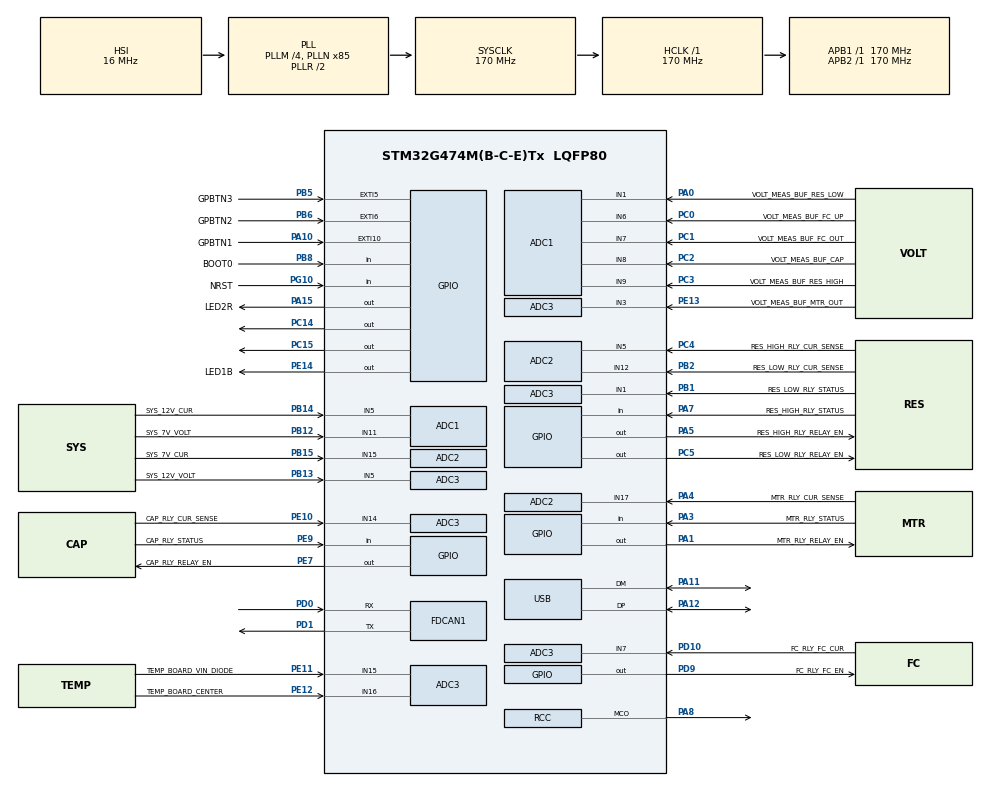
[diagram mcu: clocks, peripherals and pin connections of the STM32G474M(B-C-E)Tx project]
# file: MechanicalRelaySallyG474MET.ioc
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ADC1.Channel-0\#ChannelRegularConversion=ADC_CHANNEL_1
ADC1.Channel-1\#ChannelRegularConversion=ADC_CHANNEL_5
ADC1.Channel-2\#ChannelRegularConversion=ADC_CHANNEL_6
ADC1.Channel-3\#ChannelRegularConversion=ADC_CHANNEL_7
ADC1.Channel-4\#ChannelRegularConversion=ADC_CHANNEL_8
ADC1.Channel-5\#ChannelRegularConversion=ADC_CHANNEL_9
ADC1.Channel-6\#ChannelRegularConversion=ADC_CHANNEL_11
ADC1.Channel-7\#ChannelRegularConversion=ADC_CHANNEL_TEMPSENSOR_ADC1
ADC1.Channel-8\#ChannelRegularConversion=ADC_CHANNEL_VBAT
ADC1.Channel-9\#ChannelRegularConversion=ADC_CHANNEL_VREFINT
ADC1.ContinuousConvMode=ENABLE
ADC1.DMAContinuousRequests=ENABLE
ADC1.EOCSelection=ADC_EOC_SEQ_CONV
ADC1.NbrOfConversion=10
ADC1.NbrOfConversionFlag=1
ADC1.OffsetNumber-0\#ChannelRegularConversion=ADC_OFFSET_NONE
ADC1.OffsetNumber-1\#ChannelRegularConversion=ADC_OFFSET_NONE
ADC1.OffsetNumber-2\#ChannelRegularConversion=ADC_OFFSET_NONE
ADC1.OffsetNumber-3\#ChannelRegularConversion=ADC_OFFSET_NONE
ADC1.OffsetNumber-4\#ChannelRegularConversion=ADC_OFFSET_NONE
ADC1.OffsetNumber-5\#ChannelRegularConversion=ADC_OFFSET_NONE
ADC1.OffsetNumber-6\#ChannelRegularConversion=ADC_OFFSET_NONE
ADC1.OffsetNumber-7\#ChannelRegularConversion=ADC_OFFSET_NONE
ADC1.OffsetNumber-8\#ChannelRegularConversion=ADC_OFFSET_NONE
ADC1.OffsetNumber-9\#ChannelRegularConversion=ADC_OFFSET_NONE
ADC1.Overrun=ADC_OVR_DATA_OVERWRITTEN
ADC1.Rank-0\#ChannelRegularConversion=1
ADC1.Rank-1\#ChannelRegularConversion=2
ADC1.Rank-2\#ChannelRegularConversion=3
ADC1.Rank-3\#ChannelRegularConversion=4
ADC1.Rank-4\#ChannelRegularConversion=5
ADC1.Rank-5\#ChannelRegularConversion=6
ADC1.Rank-6\#ChannelRegularConversion=7
ADC1.Rank-7\#ChannelRegularConversion=8
ADC1.Rank-8\#ChannelRegularConversion=9
ADC1.Rank-9\#ChannelRegularConversion=10
ADC1.SamplingTime-0\#ChannelRegularConversion=ADC_SAMPLETIME_2CYCLES_5
ADC1.SamplingTime-1\#ChannelRegularConversion=ADC_SAMPLETIME_2CYCLES_5
ADC1.SamplingTime-2\#ChannelRegularConversion=ADC_SAMPLETIME_2CYCLES_5
ADC1.SamplingTime-3\#ChannelRegularConversion=ADC_SAMPLETIME_2CYCLES_5
ADC1.SamplingTime-4\#ChannelRegularConversion=ADC_SAMPLETIME_2CYCLES_5
ADC1.SamplingTime-5\#ChannelRegularConversion=ADC_SAMPLETIME_2CYCLES_5
ADC1.SamplingTime-6\#ChannelRegularConversion=ADC_SAMPLETIME_2CYCLES_5
ADC1.SamplingTime-7\#ChannelRegularConversion=ADC_SAMPLETIME_2CYCLES_5
ADC1.SamplingTime-8\#ChannelRegularConversion=ADC_SAMPLETIME_2CYCLES_5
ADC1.SamplingTime-9\#ChannelRegularConversion=ADC_SAMPLETIME_2CYCLES_5
ADC1.master=1
ADC2.Channel-0\#ChannelRegularConversion=ADC_CHANNEL_5
ADC2.Channel-1\#ChannelRegularConversion=ADC_CHANNEL_12
ADC2.Channel-2\#ChannelRegularConversion=ADC_CHANNEL_15
ADC2.Channel-3\#ChannelRegularConversion=ADC_CHANNEL_17
ADC2.ContinuousConvMode=ENABLE
ADC2.DMAContinuousRequests=ENABLE
ADC2.EOCSelection=ADC_EOC_SEQ_CONV
ADC2.NbrOfConversion=4
ADC2.NbrOfConversionFlag=1
ADC2.OffsetNumber-0\#ChannelRegularConversion=ADC_OFFSET_NONE
ADC2.OffsetNumber-1\#ChannelRegularConversion=ADC_OFFSET_NONE
ADC2.OffsetNumber-2\#ChannelRegularConversion=ADC_OFFSET_NONE
ADC2.OffsetNumber-3\#ChannelRegularConversion=ADC_OFFSET_NONE
ADC2.Overrun=ADC_OVR_DATA_OVERWRITTEN
ADC2.Rank-0\#ChannelRegularConversion=1
ADC2.Rank-1\#ChannelRegularConversion=2
ADC2.Rank-2\#ChannelRegularConversion=3
ADC2.Rank-3\#ChannelRegularConversion=4
ADC2.SamplingTime-0\#ChannelRegularConversion=ADC_SAMPLETIME_2CYCLES_5
ADC2.SamplingTime-1\#ChannelRegularConversion=ADC_SAMPLETIME_2CYCLES_5
ADC2.SamplingTime-2\#ChannelRegularConversion=ADC_SAMPLETIME_2CYCLES_5
ADC2.SamplingTime-3\#ChannelRegularConversion=ADC_SAMPLETIME_2CYCLES_5
ADC3.Channel-0\#ChannelRegularConversion=ADC_CHANNEL_3
ADC3.Channel-1\#ChannelRegularConversion=ADC_CHANNEL_5
ADC3.Channel-2\#ChannelRegularConversion=ADC_CHANNEL_7
ADC3.Channel-3\#ChannelRegularConversion=ADC_CHANNEL_14
ADC3.ContinuousConvMode=ENABLE
ADC3.DMAContinuousRequests=ENABLE
ADC3.EOCSelection=ADC_EOC_SEQ_CONV
ADC3.NbrOfConversion=4
ADC3.NbrOfConversionFlag=1
ADC3.OffsetNumber-0\#ChannelRegularConversion=ADC_OFFSET_NONE
ADC3.OffsetNumber-1\#ChannelRegularConversion=ADC_OFFSET_NONE
ADC3.OffsetNumber-2\#ChannelRegularConversion=ADC_OFFSET_NONE
ADC3.OffsetNumber-3\#ChannelRegularConversion=ADC_OFFSET_NONE
ADC3.Overrun=ADC_OVR_DATA_OVERWRITTEN
ADC3.Rank-0\#ChannelRegularConversion=1
ADC3.Rank-1\#ChannelRegularConversion=2
ADC3.Rank-2\#ChannelRegularConversion=3
ADC3.Rank-3\#ChannelRegularConversion=4
ADC3.SamplingTime-0\#ChannelRegularConversion=ADC_SAMPLETIME_2CYCLES_5
ADC3.SamplingTime-1\#ChannelRegularConversion=ADC_SAMPLETIME_2CYCLES_5
ADC3.SamplingTime-2\#ChannelRegularConversion=ADC_SAMPLETIME_2CYCLES_5
ADC3.SamplingTime-3\#ChannelRegularConversion=ADC_SAMPLETIME_2CYCLES_5
ADC3.master=1
Dma.ADC1.0.Direction=DMA_PERIPH_TO_MEMORY
Dma.ADC1.0.EventEnable=DISABLE
Dma.ADC1.0.Instance=DMA1_Channel1
Dma.ADC1.0.MemDataAlignment=DMA_MDATAALIGN_HALFWORD
Dma.ADC1.0.MemInc=DMA_MINC_ENABLE
Dma.ADC1.0.Mode=DMA_CIRCULAR
Dma.ADC1.0.PeriphDataAlignment=DMA_PDATAALIGN_HALFWORD
Dma.ADC1.0.PeriphInc=DMA_PINC_DISABLE
Dma.ADC1.0.Polarity=HAL_DMAMUX_REQ_GEN_RISING
Dma.ADC1.0.Priority=DMA_PRIORITY_LOW
Dma.ADC1.0.RequestNumber=1
Dma.ADC1.0.SignalID=NONE
Dma.ADC1.0.SyncEnable=DISABLE
Dma.ADC1.0.SyncPolarity=HAL_DMAMUX_SYNC_NO_EVENT
Dma.ADC1.0.SyncRequestNumber=1
Dma.ADC1.0.SyncSignalID=NONE
Dma.ADC2.1.Direction=DMA_PERIPH_TO_MEMORY
Dma.ADC2.1.EventEnable=DISABLE
Dma.ADC2.1.Instance=DMA1_Channel2
Dma.ADC2.1.MemDataAlignment=DMA_MDATAALIGN_HALFWORD
Dma.ADC2.1.MemInc=DMA_MINC_ENABLE
Dma.ADC2.1.Mode=DMA_CIRCULAR
Dma.ADC2.1.PeriphDataAlignment=DMA_PDATAALIGN_HALFWORD
Dma.ADC2.1.PeriphInc=DMA_PINC_DISABLE
Dma.ADC2.1.Polarity=HAL_DMAMUX_REQ_GEN_RISING
Dma.ADC2.1.Priority=DMA_PRIORITY_LOW
Dma.ADC2.1.RequestNumber=1
Dma.ADC2.1.SignalID=NONE
Dma.ADC2.1.SyncEnable=DISABLE
Dma.ADC2.1.SyncPolarity=HAL_DMAMUX_SYNC_NO_EVENT
Dma.ADC2.1.SyncRequestNumber=1
Dma.ADC2.1.SyncSignalID=NONE
Dma.ADC3.2.Direction=DMA_PERIPH_TO_MEMORY
Dma.ADC3.2.EventEnable=DISABLE
Dma.ADC3.2.Instance=DMA1_Channel3
Dma.ADC3.2.MemDataAlignment=DMA_MDATAALIGN_HALFWORD
Dma.ADC3.2.MemInc=DMA_MINC_ENABLE
Dma.ADC3.2.Mode=DMA_CIRCULAR
Dma.ADC3.2.PeriphDataAlignment=DMA_PDATAALIGN_HALFWORD
Dma.ADC3.2.PeriphInc=DMA_PINC_DISABLE
Dma.ADC3.2.Polarity=HAL_DMAMUX_REQ_GEN_RISING
Dma.ADC3.2.Priority=DMA_PRIORITY_LOW
Dma.ADC3.2.RequestNumber=1
Dma.ADC3.2.SignalID=NONE
Dma.ADC3.2.SyncEnable=DISABLE
Dma.ADC3.2.SyncPolarity=HAL_DMAMUX_SYNC_NO_EVENT
Dma.ADC3.2.SyncRequestNumber=1
Dma.ADC3.2.SyncSignalID=NONE
Dma.Request0=ADC1
Dma.Request1=ADC2
Dma.Request2=ADC3
FDCAN1.CalculateBaudRateNominal=3541666
FDCAN1.CalculateTimeBitNominal=282
FDCAN1.CalculateTimeQuantumNominal=94.11764705882354
FREERTOS.Tasks01=defaultTask,24,128,StartDefaultTask,Default,NULL,Dynamic,NULL,NULL
Mcu.Family=STM32G4
Mcu.Name=STM32G474M(B-C-E)Tx
Mcu.Package=LQFP80
NVIC.ADC1_2_IRQn=true\:5\:0\:false\:false\:true\:true\:true\:true\:true
NVIC.ADC3_IRQn=true\:5\:0\:false\:false\:true\:true\:true\:true\:true
NVIC.DMA1_Channel1_IRQn=true\:5\:0\:false\:false\:true\:true\:false\:true\:true
NVIC.DMA1_Channel2_IRQn=true\:5\:0\:false\:false\:true\:true\:false\:true\:true
NVIC.DMA1_Channel3_IRQn=true\:5\:0\:false\:false\:true\:true\:false\:true\:true
NVIC.EXTI15_10_IRQn=true\:5\:0\:false\:false\:true\:true\:true\:true\:true
NVIC.EXTI9_5_IRQn=true\:5\:0\:false\:false\:true\:true\:true\:true\:true
NVIC.PriorityGroup=NVIC_PRIORITYGROUP_4
NVIC.TIM1_UP_TIM16_IRQn=true\:15\:0\:false\:false\:true\:false\:false\:true\:true
NVIC.TimeBase=TIM1_UP_TIM16_IRQn
NVIC.TimeBaseIP=TIM1
NVIC.USB_LP_IRQn=true\:5\:0\:false\:false\:true\:true\:false\:true\:true
PA0.GPIO_Label=VOLT_MEAS_BUF_RES_LOW
PA0.Mode=IN1-Single-Ended
PA0.Signal=ADC1_IN1
PA1.GPIO_Label=MTR_RLY_RELAY_EN
PA1.GPIO_PuPd=GPIO_PULLDOWN
PA1.Signal=GPIO_Output
PA10.GPIO_Label=GPBTN1
PA10.GPIO_ModeDefaultEXTI=GPIO_MODE_IT_FALLING
PA10.GPIO_PuPd=GPIO_PULLUP
PA10.Signal=GPXTI10
PA11.Mode=Device
PA11.Signal=USB_DM
PA12.Mode=Device
PA12.Signal=USB_DP
PA13.Mode=Serial_Wire
PA13.Signal=SYS_JTMS-SWDIO
PA14.Mode=Serial_Wire
PA14.Signal=SYS_JTCK-SWCLK
PA15.GPIO_Label=LED2R
PA15.Signal=GPIO_Output
PA3.GPIO_Label=MTR_RLY_STATUS
PA3.Signal=GPIO_Input
PA4.GPIO_Label=MTR_RLY_CUR_SENSE
PA4.Mode=IN17-Single-Ended
PA4.Signal=ADC2_IN17
PA5.GPIO_Label=RES_HIGH_RLY_RELAY_EN
PA5.GPIO_PuPd=GPIO_PULLDOWN
PA5.Signal=GPIO_Output
PA7.GPIO_Label=RES_HIGH_RLY_STATUS
PA7.Signal=GPIO_Input
PA8.Mode=Clock-out
PA8.Signal=RCC_MCO
PB1.GPIO_Label=RES_LOW_RLY_STATUS
PB1.Mode=IN1-Single-Ended
PB1.Signal=ADC3_IN1
PB12.GPIO_Label=SYS_7V_VOLT
PB12.Mode=IN11-Single-Ended
PB12.Signal=ADC1_IN11
PB13.GPIO_Label=SYS_12V_VOLT
PB13.Mode=IN5-Single-Ended
PB13.Signal=ADC3_IN5
PB14.GPIO_Label=SYS_12V_CUR
PB14.Mode=IN5-Single-Ended
PB14.Signal=ADC1_IN5
PB15.GPIO_Label=SYS_7V_CUR
PB15.Mode=IN15-Single-Ended
PB15.Signal=ADC2_IN15
PB2.GPIO_Label=RES_LOW_RLY_CUR_SENSE
PB2.Mode=IN12-Single-Ended
PB2.Signal=ADC2_IN12
PB5.GPIO_Label=GPBTN3
PB5.Signal=GPXTI5
PB6.GPIO_Label=GPBTN2
PB6.Signal=GPXTI6
PB8-BOOT0.GPIO_Label=BOOT0
PB8-BOOT0.Signal=GPIO_Input
PC0.GPIO_Label=VOLT_MEAS_BUF_FC_UP
PC0.Mode=IN6-Single-Ended
PC0.Signal=ADC1_IN6
PC1.GPIO_Label=VOLT_MEAS_BUF_FC_OUT
PC1.Mode=IN7-Single-Ended
PC1.Signal=ADC1_IN7
PC14-OSC32_IN.Signal=GPIO_Output
PC15-OSC32_OUT.Signal=GPIO_Output
PC2.GPIO_Label=VOLT_MEAS_BUF_CAP
PC2.Mode=IN8-Single-Ended
PC2.Signal=ADC1_IN8
PC3.GPIO_Label=VOLT_MEAS_BUF_RES_HIGH
PC3.Mode=IN9-Single-Ended
PC3.Signal=ADC1_IN9
PC4.GPIO_Label=RES_HIGH_RLY_CUR_SENSE
PC4.Mode=IN5-Single-Ended
PC4.Signal=ADC2_IN5
PC5.GPIO_Label=RES_LOW_RLY_RELAY_EN
PC5.GPIO_PuPd=GPIO_PULLDOWN
PC5.Signal=GPIO_Output
PD0.Mode=FDCAN_Activate
PD0.Signal=FDCAN1_RX
PD1.Mode=FDCAN_Activate
PD1.Signal=FDCAN1_TX
PD10.GPIO_Label=FC_RLY_FC_CUR
PD10.Mode=IN7-Single-Ended
PD10.Signal=ADC3_IN7
PD9.GPIO_Label=FC_RLY_FC_EN
PD9.GPIO_PuPd=GPIO_PULLDOWN
PD9.Signal=GPIO_Output
PE10.GPIO_Label=CAP_RLY_CUR_SENSE
PE10.Mode=IN14-Single-Ended
PE10.Signal=ADC3_IN14
PE11.GPIO_Label=TEMP_BOARD_VIN_DIODE
PE11.Mode=IN15-Single-Ended
PE11.Signal=ADC3_IN15
PE12.GPIO_Label=TEMP_BOARD_CENTER
PE12.Mode=IN16-Single-Ended
PE12.Signal=ADC3_IN16
PE13.GPIO_Label=VOLT_MEAS_BUF_MTR_OUT
PE13.Mode=IN3-Single-Ended
PE13.Signal=ADC3_IN3
PE14.GPIO_Label=LED1B
PE14.Signal=GPIO_Output
PE7.GPIO_Label=CAP_RLY_RELAY_EN
PE7.GPIO_PuPd=GPIO_PULLDOWN
PE7.Signal=GPIO_Output
PE9.GPIO_Label=CAP_RLY_STATUS
PE9.Signal=GPIO_Input
PF0-OSC_IN.Mode=HSE-External-Clock-Source
PF0-OSC_IN.Signal=RCC_OSC_IN
PG10-NRST.GPIO_Label=NRST
PG10-NRST.Signal=GPIO_Input
ProjectManager.HeapSize=0x200
ProjectManager.StackSize=0x400
ProjectManager.TargetToolchain=STM32CubeIDE
RCC.ADC12Freq_Value=170000000
RCC.ADC345Freq_Value=170000000
RCC.AHBFreq_Value=170000000
RCC.APB1Freq_Value=170000000
RCC.APB1TimFreq_Value=170000000
RCC.APB2Freq_Value=170000000
RCC.APB2TimFreq_Value=170000000
RCC.CK48CLockSelection=RCC_USBCLKSOURCE_HSI48
RCC.CortexFreq_Value=170000000
RCC.EXTERNAL_CLOCK_VALUE=12288000
RCC.HCLKFreq_Value=170000000
RCC.HSE_VALUE=8000000
RCC.HSI48_VALUE=48000000
RCC.HSI_VALUE=16000000
RCC.LSE_VALUE=32768
RCC.PLLM=RCC_PLLM_DIV4
RCC.PLLN=85
RCC.PLLQ=RCC_PLLQ_DIV4
RCC.RCC_MCO1Source=RCC_MCO1SOURCE_SYSCLK
RCC.SYSCLKFreq_VALUE=170000000
RCC.SYSCLKSource=RCC_SYSCLKSOURCE_PLLCLK
RCC.USBFreq_Value=48000000
RCC.VCOOutputFreq_Value=340000000
USB_DEVICE.CLASS_NAME_FS=CDC
USB_DEVICE.VirtualMode=Cdc
USB_DEVICE.VirtualModeFS=Cdc_FS
VP_ADC1_TempSens_Input.Mode=IN-TempSens
VP_ADC1_Vbat_Input.Mode=IN-Vbat
VP_ADC1_Vref_Input.Mode=IN-Vrefint
VP_FREERTOS_VS_CMSIS_V2.Mode=CMSIS_V2
VP_SYS_VS_DBSignals.Mode=DisableDeadBatterySignals
VP_SYS_VS_tim1.Mode=TIM1
VP_USB_DEVICE_VS_USB_DEVICE_CDC_FS.Mode=CDC_FS
board=custom

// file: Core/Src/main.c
/* USER CODE BEGIN Header */
/**
 ******************************************************************************
 * @file           : main.c
 * @brief          : Main program body
 ******************************************************************************
 * @attention
 *
 * Copyright (c) 2026 STMicroelectronics.
 * All rights reserved.
 *
 * This software is licensed under terms that can be found in the LICENSE file
 * in the root directory of this software component.
 * If no LICENSE file comes with this software, it is provided AS-IS.
 *
 ******************************************************************************
 */
/* USER CODE END Header */
#include "main.h"
#include "cmsis_os.h"
#include "adc.h"
#include "dma.h"
#include "fdcan.h"
#include "usb_device.h"
#include "gpio.h"

/* USER CODE BEGIN Includes */
#include "usbd_cdc_if.h"
/* USER CODE END Includes */

/* USER CODE BEGIN PD */
#define BUTTON_DEBOUNCE 100
/* USER CODE END PD */

void SystemClock_Config(void);
void MX_FREERTOS_Init(void);

/* USER CODE BEGIN 0 */
int _write(int file, char *ptr, int len) {
	(void) file;
	CDC_Transmit_FS(ptr, len);
	return len;
}
/**
 * @brief  EXTI line detection callback.
 * @param  GPIO_Pin: Specifies the port pin connected to corresponding EXTI line.
 * @retval None
 */
uint32_t debounce_GPBTN1 = 0;
void HAL_GPIO_EXTI_Callback(uint16_t GPIO_Pin) {

	switch (GPIO_Pin) {
	case GPBTN1_Pin:
		if (BUTTON_DEBOUNCE < (HAL_GetTick() - debounce_GPBTN1)) {
			HAL_GPIO_TogglePin(RES_LOW_RLY_RELAY_EN_GPIO_Port,
			RES_LOW_RLY_RELAY_EN_Pin);

			HAL_GPIO_TogglePin(RES_HIGH_RLY_RELAY_EN_GPIO_Port,
			RES_HIGH_RLY_RELAY_EN_Pin);

			HAL_GPIO_TogglePin(MTR_RLY_RELAY_EN_GPIO_Port,
			MTR_RLY_RELAY_EN_Pin);

			HAL_GPIO_TogglePin(CAP_RLY_RELAY_EN_GPIO_Port,
			CAP_RLY_RELAY_EN_Pin);

			HAL_GPIO_TogglePin(FC_RLY_FC_EN_GPIO_Port,
			FC_RLY_FC_EN_Pin);
		}
		debounce_GPBTN1 += HAL_GetTick();
		break;
	}
}
/* USER CODE END 0 */

int main(void)
{

  /* MCU Configuration--------------------------------------------------------*/

  /* Reset of all peripherals, Initializes the Flash interface and the Systick. */
  HAL_Init();

  /* Configure the system clock */
  SystemClock_Config();

  /* Initialize all configured peripherals */
  MX_GPIO_Init();
  MX_DMA_Init();
  MX_ADC1_Init();
  MX_ADC2_Init();
  MX_ADC3_Init();
  MX_FDCAN1_Init();

  /* Init scheduler */
  osKernelInitialize();  /* Call init function for freertos objects (in cmsis_os2.c) */
  MX_FREERTOS_Init();

  /* Start scheduler */
  osKernelStart();

  /* We should never get here as control is now taken by the scheduler */

  /* Infinite loop */
	while (1) {

    /* USER CODE BEGIN 3 */
		printf("Starting RELAY\r\n");
//		HAL_GPIO_TogglePin(RES_LOW_RLY_RELAY_EN_GPIO_Port,
//		RES_LOW_RLY_RELAY_EN_Pin);
//
//		HAL_GPIO_TogglePin(RES_HIGH_RLY_RELAY_EN_GPIO_Port,
//		RES_HIGH_RLY_RELAY_EN_Pin);
//
//		HAL_GPIO_TogglePin(MTR_RLY_RELAY_EN_GPIO_Port,
//		MTR_RLY_RELAY_EN_Pin);
//
//		HAL_GPIO_TogglePin(CAP_RLY_RELAY_EN_GPIO_Port,
//		CAP_RLY_RELAY_EN_Pin);
//
//		HAL_GPIO_TogglePin(FC_RLY_FC_EN_GPIO_Port,
//		FC_RLY_FC_EN_Pin);
		HAL_Delay(200);

	}
  /* USER CODE END 3 */
}

void SystemClock_Config(void)
{
  RCC_OscInitTypeDef RCC_OscInitStruct = {0};
  RCC_ClkInitTypeDef RCC_ClkInitStruct = {0};

  /** Configure the main internal regulator output voltage
  */
  HAL_PWREx_ControlVoltageScaling(PWR_REGULATOR_VOLTAGE_SCALE1_BOOST);

  /** Initializes the RCC Oscillators according to the specified parameters
  * in the RCC_OscInitTypeDef structure.
  */
  RCC_OscInitStruct.OscillatorType = RCC_OSCILLATORTYPE_HSI|RCC_OSCILLATORTYPE_HSI48;
  RCC_OscInitStruct.HSIState = RCC_HSI_ON;
  RCC_OscInitStruct.HSICalibrationValue = RCC_HSICALIBRATION_DEFAULT;
  RCC_OscInitStruct.HSI48State = RCC_HSI48_ON;
  RCC_OscInitStruct.PLL.PLLState = RCC_PLL_ON;
  RCC_OscInitStruct.PLL.PLLSource = RCC_PLLSOURCE_HSI;
  RCC_OscInitStruct.PLL.PLLM = RCC_PLLM_DIV4;
  RCC_OscInitStruct.PLL.PLLN = 85;
  RCC_OscInitStruct.PLL.PLLP = RCC_PLLP_DIV2;
  RCC_OscInitStruct.PLL.PLLQ = RCC_PLLQ_DIV4;
  RCC_OscInitStruct.PLL.PLLR = RCC_PLLR_DIV2;
  if (HAL_RCC_OscConfig(&RCC_OscInitStruct) != HAL_OK)
  {
    Error_Handler();
  }

  /** Initializes the CPU, AHB and APB buses clocks
  */
  RCC_ClkInitStruct.ClockType = RCC_CLOCKTYPE_HCLK|RCC_CLOCKTYPE_SYSCLK
                              |RCC_CLOCKTYPE_PCLK1|RCC_CLOCKTYPE_PCLK2;
  RCC_ClkInitStruct.SYSCLKSource = RCC_SYSCLKSOURCE_PLLCLK;
  RCC_ClkInitStruct.AHBCLKDivider = RCC_SYSCLK_DIV1;
  RCC_ClkInitStruct.APB1CLKDivider = RCC_HCLK_DIV1;
  RCC_ClkInitStruct.APB2CLKDivider = RCC_HCLK_DIV1;

  if (HAL_RCC_ClockConfig(&RCC_ClkInitStruct, FLASH_LATENCY_4) != HAL_OK)
  {
    Error_Handler();
  }
  HAL_RCC_MCOConfig(RCC_MCO1, RCC_MCO1SOURCE_SYSCLK, RCC_MCODIV_1);
}

void HAL_TIM_PeriodElapsedCallback(TIM_HandleTypeDef *htim)
{
  if (htim->Instance == TIM1)
  {
    HAL_IncTick();
  }
}

void Error_Handler(void)
{
	__disable_irq();
	while (1) {
	}
}

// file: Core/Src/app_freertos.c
/* USER CODE BEGIN Header */
/**
 ******************************************************************************
 * File Name          : app_freertos.c
 * Description        : Code for freertos applications
 ******************************************************************************
 * @attention
 *
 * Copyright (c) 2026 STMicroelectronics.
 * All rights reserved.
 *
 * This software is licensed under terms that can be found in the LICENSE file
 * in the root directory of this software component.
 * If no LICENSE file comes with this software, it is provided AS-IS.
 *
 ******************************************************************************
 */
/* USER CODE END Header */

#include "FreeRTOS.h"
#include "task.h"
#include "main.h"
#include "cmsis_os.h"

#include "usb_device.h"

/* USER CODE BEGIN Includes */
#include "adc.h"
/* USER CODE END Includes */

/* USER CODE BEGIN PTD */
typedef enum {
	STATE_DISCHARGE_OFF = 0,
	STATE_RES_CHARGE = 1,
	STATE_CHARGE = 2,
	STATE_RUN = 3,
} relay_state_t;

typedef enum {
	MEAS_VOLT_FC_UP = 2, // Channel 6,
	MEAS_VOLT_FC_OUT = 3, // Channel 7,
	MEAS_VOLT_CAP = 4, // Channel 8,
	MEAS_VOLT_RES_HIGH = 5, // Channel 9,
	MEAS_VOLT_RES_LOW = 0, // Channel 1,
	MEAS_VOLT_SYS_7V = 6, // Channel 11,
	MEAS_CURR_SYS_12V = 1, // Channel 5,
	MEAS_MCU_TEMP = 7, // Channel TempSensor,
	MEAS_VBAT = 8, // Channel VBAT,
	MEAS_VREFINT = 9, // Channel VREFINT
} MEAS_ADC1_IDX_t;

typedef enum {
	MEAS_CURR_RES_HIGH = 0, // Channel 5,
	MEAS_CURR_RES_LOW = 1, // Channel 12,
	MEAS_CURR_MTR = 3, // Channel 17,
	MEAS_CURR_SYS_7V = 2, // Channel 15,
} MEAS_ADC2_IDX_t;

typedef enum {
	MEAS_VOLT_MTR = 0, // Channel 3,
	MEAS_VOLT_SYS_12V = 1, // Channel 5,
	MEAS_CURR_FC_OUT = 2, // Channel 7,
	MEAS_CURR_CAP = 3, // Channel 14,
} MEAS_ADC3_IDX_t;

/* USER CODE END PTD */

/* USER CODE BEGIN Variables */
uint16_t ADC1_MEAS[10];
uint16_t ADC2_MEAS[4];
uint16_t ADC3_MEAS[4];
/* USER CODE END Variables */
/* Definitions for defaultTask */
osThreadId_t defaultTaskHandle;
const osThreadAttr_t defaultTask_attributes = { .name = "defaultTask",
		.priority = (osPriority_t) osPriorityNormal, .stack_size = 128 * 4 };

void StartDefaultTask(void *argument);

void MX_FREERTOS_Init(void); /* (MISRA C 2004 rule 8.1) */

void MX_FREERTOS_Init(void) {

	/* Create the thread(s) */
	/* creation of defaultTask */
	defaultTaskHandle = osThreadNew(StartDefaultTask, NULL,
			&defaultTask_attributes);

}

void StartDefaultTask(void *argument) {
	/* init code for USB_Device */
	MX_USB_Device_Init();
	/* USER CODE BEGIN StartDefaultTask */
	HAL_ADC_Start_DMA(&hadc1, (uint32_t*) ADC1_MEAS, 10);
	HAL_ADC_Start_DMA(&hadc2, (uint32_t*) ADC2_MEAS, 4);
	HAL_ADC_Start_DMA(&hadc3, (uint32_t*) ADC3_MEAS, 4);
	/* Infinite loop */
	for (;;) {
		printf("Starting RELAY\r\n");
		osDelay(100);
	}
	/* USER CODE END StartDefaultTask */
}
